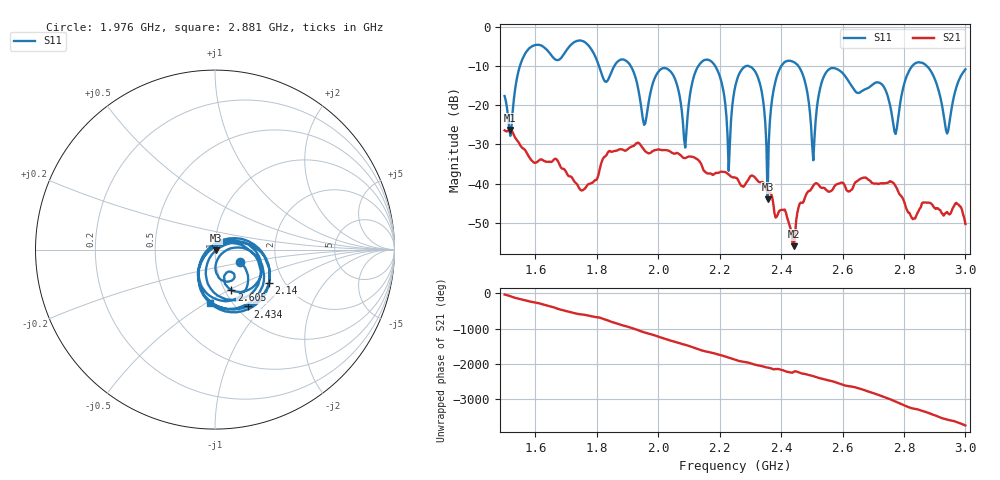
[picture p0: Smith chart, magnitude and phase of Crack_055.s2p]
# HZ S RI R 50
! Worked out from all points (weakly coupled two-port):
!   404 points, 1.5 GHz to 3 GHz, reference 50 ohm
!   highest |S21| = -26.29 dB at 1.519 GHz (marker M1); lowest = -56.0 dB at 2.442 GHz (marker M2)
!   lowest |S11| = -44.1 dB at 2.356 GHz (marker M3), VSWR 1.01, Z = 50.5 - j0.346 ohm
!   |S11| at or under -10 dB: 1.911 GHz to 2.131 GHz (220 MHz wide, 10.9 % of centre); 2.456 GHz to 2.827 GHz (370.5 MHz wide, 14 % of centre); 2.874 GHz to end of sweep (the widest 3 of 7)
!   S12 and S22 are empty: the file has one direction only
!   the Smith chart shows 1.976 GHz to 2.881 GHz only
!   S11 on the Smith chart (normalised r, x): 1.976 GHz: 1.30, -0.19; 2.14 GHz: 1.67, -0.71; 2.434 GHz: 1.12, -0.82; 2.605 GHz: 1.07, -0.52; 2.881 GHz: 0.79, -0.52
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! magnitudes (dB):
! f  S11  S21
! 1.5 GHz  -17.6  -26.4
! 1.519 GHz  -27.8  -26.3
! 1.574 GHz  -6.0  -32.5
! 1.753 GHz  -3.6  -41.8
! 1.976 GHz  -16.2  -32.1
! 2.002 GHz  -11.3  -31.3
! 2.088 GHz  -30.8  -33.5
! 2.14 GHz  -9.0  -35.1
! 2.23 GHz  -36.8  -37.7
! 2.252 GHz  -14.8  -38.5
! 2.319 GHz  -11.8  -38.8
! 2.356 GHz  -44.1  -42.2
! 2.386 GHz  -12.7  -48.5
! 2.434 GHz  -8.8  -53.0
! 2.442 GHz  -9.0  -56.0
! 2.501 GHz  -30.3  -41.0
! 2.542 GHz  -12.2  -41.2
! 2.605 GHz  -12.3  -40.2
! 2.751 GHz  -18.7  -39.7
! 2.881 GHz  -10.5  -44.9
! 2.94 GHz  -27.2  -47.3
! 3 GHz  -10.8  -50.4
